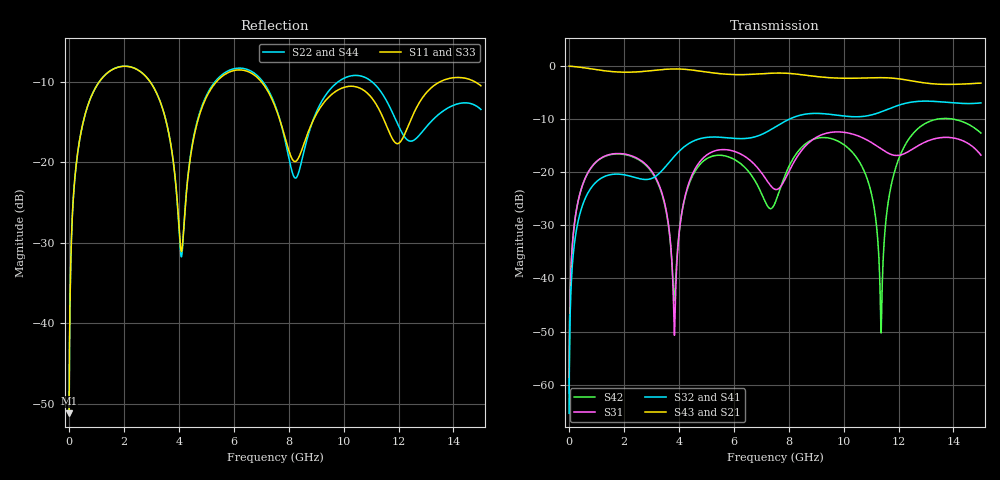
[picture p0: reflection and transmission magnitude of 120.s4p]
! Created with skrf 1.8.0 (http://scikit-rf.org).
# GHz S RI R 50.0
!freq ReS11 ImS11 ReS12 ImS12 ReS13 ImS13
! ReS14 ImS14
! ReS21 ImS21 ReS22 ImS22 ReS23 ImS23
! ReS24 ImS24
! ReS31 ImS31 ReS32 ImS32 ReS33 ImS33
! ReS34 ImS34
! ReS41 ImS41 ReS42 ImS42 ReS43 ImS43
! ReS44 ImS44
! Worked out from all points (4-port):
!   2499 points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, 5 MHz to 15 GHz, reference 50 ohm
!   strongest paths, dB at 5 MHz, 3.476 GHz, 7.19 GHz, 11.1 GHz, 15 GHz:
!     S43: 0.0, -0.6, -1.4, -2.2, -3.2
!     S21: 0.0, -0.6, -1.4, -2.2, -3.2
!     S32: -65.4, -19.2, -12.4, -9.1, -6.9
!     S41: -65.4, -19.2, -12.4, -9.1, -7.0
!     S31: -61.5, -25.6, -21.4, -14.7, -16.8
!     S42: -61.5, -25.9, -26.0, -26.2, -12.6
!   lowest |S11| = -51.2 dB at 5 MHz (marker M1), VSWR 1.01, Z = 50.2 + j0.167 ohm
!   |S11| at or under -10 dB: start of sweep to 1.104 GHz; 2.954 GHz to 5.369 GHz (2.415 GHz wide, 58 % of centre); 7.006 GHz to 13.51 GHz (6.505 GHz wide, 63.4 % of centre) (the widest 3 of 4)
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0.005  0.00219 0.00167  0.9978 -0.00425  0.00011 0.000829  -0.000107 -0.000527
       0.9978 -0.00425  0.00219 0.00167  -0.000107 -0.000527  0.00011 0.000829
       0.00011 0.000829  -0.000107 -0.000527  0.00219 0.00167  0.9978 -0.00425
       -0.000107 -0.000527  0.00011 0.000829  0.9978 -0.00425  0.00219 0.00167
1.269279  0.2991 0.1664  0.4859 -0.7627  0.1323 0.0475  -0.0905 0.00365
          0.4859 -0.7627  0.2999 0.1658  -0.0906 0.00374  0.1301 0.0511
          0.1323 0.0475  -0.0906 0.00374  0.2991 0.1665  0.4859 -0.7627
          -0.0905 0.00365  0.1301 0.0511  0.4859 -0.7627  0.3 0.1657
3.839545  0.0429 -0.0775  -0.9041 -0.2563  -0.00292 4.19e-05  -0.035 0.1372
          -0.9041 -0.2563  0.0405 -0.0778  -0.034 0.1375  -0.00628 0.000483
          -0.00292 4.19e-05  -0.034 0.1375  0.0432 -0.0781  -0.904 -0.2564
          -0.035 0.1372  -0.00628 0.000483  -0.904 -0.2564  0.0405 -0.0785
6.321384  0.3733 -0.0151  -0.00592 0.8303  0.1003 -0.1052  0.2022 -0.0442
          -0.00592 0.8303  0.3825 -0.028  0.2021 -0.0467  0.0973 -0.0639
          0.1003 -0.1052  0.2021 -0.0467  0.3719 -0.015  -0.00541 0.8307
          0.2022 -0.0442  0.0973 -0.0639  -0.00541 0.8307  0.3817 -0.0284
10.18549  0.2958 0.0133  0.2242 -0.7356  0.194 -0.1305  -0.3317 -0.0308
          0.2242 -0.7356  0.341 0.0179  -0.3345 -0.0245  0.1663 -0.0187
          0.194 -0.1305  -0.3345 -0.0245  0.2975 0.0189  0.2219 -0.7346
          -0.3317 -0.0308  0.1663 -0.0187  0.2219 -0.7346  0.3477 0.0141
11.36724  0.1863 -0.0746  -0.4295 -0.6506  -0.0807 -0.1453  -0.3057 0.2084
          -0.4295 -0.6506  0.2348 -0.1394  -0.3007 0.2164  0.00245 0.00184
          -0.0807 -0.1453  -0.3007 0.2164  0.1942 -0.0711  -0.4298 -0.6487
          -0.3057 0.2084  0.00245 0.00184  -0.4298 -0.6487  0.2355 -0.1469
15  0.2744 -0.118  0.0457 0.6906  0.1185 -0.0837  0.44 -0.0883
    0.0457 0.6906  0.2016 -0.0681  0.4387 -0.1015  0.1342 -0.1916
    0.1185 -0.0837  0.4387 -0.1015  0.2742 -0.117  0.0501 0.6895
    0.44 -0.0883  0.1342 -0.1916  0.0501 0.6895  0.205 -0.075
